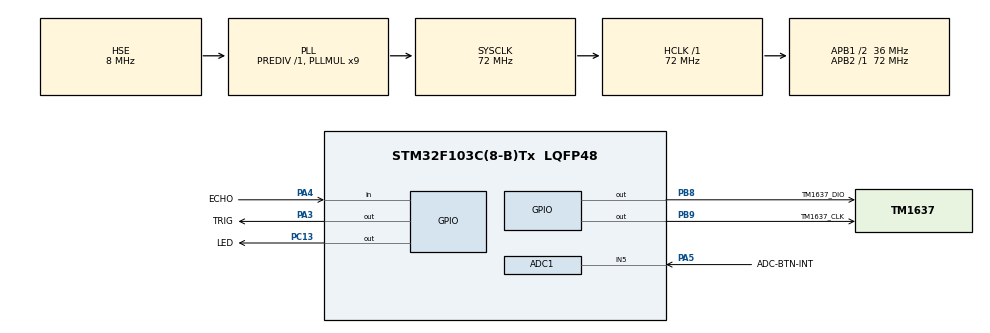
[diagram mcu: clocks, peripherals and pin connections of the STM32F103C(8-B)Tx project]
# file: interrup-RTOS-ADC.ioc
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Mcu.Family=STM32F1
RCC.PLLSourceVirtual=RCC_PLLSOURCE_HSE
NVIC.ADC1_2_IRQn=true\:5\:0\:true\:false\:true\:true\:true
ADC1.Rank-0\#ChannelRegularConversion=1
PD1-OSC_OUT.Mode=HSE-External-Oscillator
PB9.GPIO_Label=TM1637_CLK
PB9.GPIO_ModeDefaultOutputPP=GPIO_MODE_OUTPUT_OD
PC13-TAMPER-RTC.Signal=GPIO_Output
NVIC.TIM1_UP_IRQn=true\:0\:0\:false\:false\:true\:false\:true
PD0-OSC_IN.Signal=RCC_OSC_IN
RCC.APB1CLKDivider=RCC_HCLK_DIV2
RCC.SYSCLKSource=RCC_SYSCLKSOURCE_PLLCLK
ProjectManager.StackSize=0x400
PD1-OSC_OUT.Signal=RCC_OSC_OUT
RCC.ADCPresc=RCC_ADCPCLK2_DIV6
PA13.Signal=SYS_JTMS-SWDIO
PB8.GPIO_Label=TM1637_DIO
ProjectManager.TargetToolchain=STM32CubeIDE
RCC.HCLKFreq_Value=72000000
RCC.APB2TimFreq_Value=72000000
RCC.USBFreq_Value=72000000
RCC.AHBFreq_Value=72000000
PD0-OSC_IN.Mode=HSE-External-Oscillator
PA5.Signal=ADCx_IN5
ADC1.Channel-0\#ChannelRegularConversion=ADC_CHANNEL_5
board=custom
PC13-TAMPER-RTC.GPIO_Label=LED
RCC.PLLMUL=RCC_PLL_MUL9
RCC.APB2Freq_Value=72000000
VP_TIM2_VS_ClockSourceINT.Mode=Internal
PA14.Mode=Serial_Wire
VP_SYS_VS_tim1.Mode=TIM1
PB8.PinState=GPIO_PIN_SET
PA13.Mode=Serial_Wire
Mcu.Name=STM32F103C(8-B)Tx
ADC1.SamplingTime-0\#ChannelRegularConversion=ADC_SAMPLETIME_1CYCLE_5
PA4.Signal=GPIO_Input
RCC.SYSCLKFreq_VALUE=72000000
Mcu.Package=LQFP48
PB9.Signal=GPIO_Output
TIM2.Prescaler=71
ADC1.master=1
NVIC.TimeBase=TIM1_UP_IRQn
PA5.GPIO_Label=ADC-BTN-INT
PB9.PinState=GPIO_PIN_SET
NVIC.TimeBaseIP=TIM1
PA14.Signal=SYS_JTCK-SWCLK
ProjectManager.HeapSize=0x200
SH.ADCx_IN5.0=ADC1_IN5,IN5
NVIC.PriorityGroup=NVIC_PRIORITYGROUP_4
ADC1.NbrOfConversionFlag=1
PB9.GPIO_Speed=GPIO_SPEED_FREQ_MEDIUM
RCC.APB1TimFreq_Value=72000000
PB8.Signal=GPIO_Output
RCC.APB1Freq_Value=36000000
PB8.GPIO_Speed=GPIO_SPEED_FREQ_MEDIUM
PA4.GPIO_Label=ECHO
PA3.GPIO_Label=TRIG
PA3.Signal=GPIO_Output

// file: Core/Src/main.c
/* USER CODE BEGIN Header */
/**
  ******************************************************************************
  * @file           : main.c
  * @brief          : Main program body
  * Ref 1: https://microcontrollerslab.com/stm32-blue-pill-adc-polling-interrupt-dma/
  * Ref 2: https://github.com/fabimass/stm32f103-freertos/tree/main/adc/adc_isr
  ******************************************************************************
  * @attention
  *
  * <h2><center>&copy; Copyright (c) 2024 STMicroelectronics.
  * All rights reserved.</center></h2>
  *
  * This software component is licensed by ST under BSD 3-Clause license,
  * the "License"; You may not use this file except in compliance with the
  * License. You may obtain a copy of the License at:
  *                        opensource.org/licenses/BSD-3-Clause
  *
  ******************************************************************************
  */
/* USER CODE END Header */
#include "main.h"

/* USER CODE BEGIN Includes */
#include "FreeRTOS.h"
#include "task.h"
#include "queue.h"
#include "semphr.h"
/* USER CODE END Includes */

ADC_HandleTypeDef hadc1;

TIM_HandleTypeDef htim2;

void SystemClock_Config(void);
static void MX_GPIO_Init(void);
static void MX_ADC1_Init(void);
static void MX_TIM2_Init(void);

/* USER CODE BEGIN 0 */
QueueHandle_t queue_ADC, queue_PA, queue_CP, queue_AM;
SemaphoreHandle_t ADC_semph;

//para cambio de prioridades:
TaskHandle_t xTarea_Config_Handle = NULL, xTarea_Pantalla_Handle=NULL, xTarea_Medir_Handle = NULL;

//var globales para usar live expretion//
int add_tiempo = 0;
int tarea = 0;
int cola_max = 10;
int cola_min = 0;
uint16_t max = 70, min = 20; //xq pinto asi....
//var globales para usar live expretion//

#define THRESHOLD_VALUE 2048

#define BTN_USER_UP 2750	  //presiono boton UP valor ADC aprox: 2750.
#define BTN_USER_DOWN 2570    //presiono boton DOWN valor ADC aprox: 2574.
//	BTN_USER_UP - BTN_USER_DOWN = DIDERENCIA(180). Es la diferencia entre ellos.
//  Damos margen de 60 y queda: DIDERENCIA(180) -60 --> 120.. dividido 2 --> 60... asi que.
//  BTN_USER_UP - 60   = 2690     y   BTN_USER_UP + 60   = 2810
//  BTN_USER_DOWN + 60 = 2630     y   BTN_USER_DOWN - 60 = 2510
#define BTN_USER_UP_INF  BTN_USER_UP - 60
#define BTN_USER_UP_SUP  BTN_USER_UP + 60
#define BTN_USER_DOWN_INF  BTN_USER_DOWN - 60
#define BTN_USER_DOWN_SUP  BTN_USER_DOWN + 60
#define BTN_USER_OK 2100      //presiono dos botones valor ADC aprox: 1981.

static void Pantalla(void *pvParameters){
	uint16_t display_value;
	unsigned portBASE_TYPE uxPriority;
	uxPriority = NULL;
	while (1){
		//Consulta la prioridad a la que esta tarea está en ejecución.
		uxPriority = uxTaskPriorityGet( NULL );
		if(uxPriority==3)
		xQueuePeek(queue_CP,&display_value,portMAX_DELAY);//recibe valor que esta configurando tarea Config. Usa Peek para no eliminar y terminar en bloqueo.
		else if(uxPriority==2){
		xQueueReceive(queue_PA,&display_value,portMAX_DELAY);//recibe valor medido por sensor.
		}
		tm1637_ShowNumber(display_value);
		/*
		 * La función HAL-ADC-Start-IT() es responsable de permitir la interrupción y inicio de la conversión de ADC de los canales regulares.
		 * Toma en un solo parámetro que es el puntero de la estructura ADC-HandleTypeDef que contiene los parámetros de configuración para el
		 * ADC especificado. En nuestro caso es "&hadc1.
		 */
		HAL_ADC_Start_IT(&hadc1);
	}
}

static void Medir(void *pvParameters){
	uint32_t distancia = 0, pMillis, val1 = 0, val2 = 0;
	while(1){
		HAL_GPIO_WritePin(TRIG_GPIO_Port, TRIG_Pin, GPIO_PIN_SET);
		__HAL_TIM_SET_COUNTER(&htim2, 0);
		while (__HAL_TIM_GET_COUNTER (&htim2) < 10);  // wait for 10 us
		HAL_GPIO_WritePin(TRIG_GPIO_Port, TRIG_Pin, GPIO_PIN_RESET);

		pMillis = HAL_GetTick();
		while (!(HAL_GPIO_ReadPin (ECHO_GPIO_Port, ECHO_Pin)) && pMillis + 10 >  HAL_GetTick());
		val1 = __HAL_TIM_GET_COUNTER (&htim2);

		pMillis = HAL_GetTick();
		while ((HAL_GPIO_ReadPin (ECHO_GPIO_Port, ECHO_Pin)) && pMillis + 50 > HAL_GetTick());
		val2 = __HAL_TIM_GET_COUNTER (&htim2);
		distancia = (val2-val1)* 0.036/2;
		//xQueueSend(queue_AM, &distancia, portMAX_DELAY);
		xQueueSend(queue_PA, &distancia, portMAX_DELAY);
		vTaskDelay(60/portTICK_PERIOD_MS);
	}
}

static void Config(void *pvParameters){
	//unsigned portBASE_TYPE uxPriority;
	//uxPriority = uxTaskPriorityGet( NULL );
	uint16_t ADC_value, display_value=0;
	char init_estate = 1;
	char Param_Config = 2;
	char E_Confir = 0;
	//char max = 70, min = 20; //xq pinto asi.... Las puse globales solo para verlas... van locales.
	while (1){

		xSemaphoreTake(ADC_semph, portMAX_DELAY);
		if (init_estate){                 //si init_estate es 1, significa que esta iniciando el sistema y debe verificar la cola.
			//aca deberia ir una funcion que verifique mejor los valores.
			if(!cola_max && !cola_max){   //solo si lee la cola y los valores son correctos
				init_estate = 0;          //si hay valores correctos ya no es necesaio verificar cola.
				//sube valores a cola CM. Es una especie de confirmacion de que estan bien.
				//sube prioridad de memoria.
				//vuelve a tomar el semaforo y asi se bloquea. CREO....
				xSemaphoreTake(ADC_semph, portMAX_DELAY);
			}
		}
		//Si llego a esta etapa significa que debe configurar valores, para eso fuerza interrupcion ADC para actualizar cola.
		HAL_ADC_Start_IT(&hadc1);
		xQueueReceive(queue_ADC,&ADC_value,portMAX_DELAY);

		//la tarea pantalla debe poder leer su propia prioridad para saber si lee la cola CP(config-pantalla) o cola PA(Pantalla-Alarma)
		vTaskPrioritySet( xTarea_Pantalla_Handle, 3); //si aun no hay datos en la cola CP pantalla si bloquea hasat que primero aparezca valor de max. CREO.

		//es muy probable que los if que tienen en su condicion un Param_Config se reemplacen por Switch CASE.
		if(Param_Config == 2){
			if ((ADC_value > BTN_USER_UP_INF) && (ADC_value < BTN_USER_UP_SUP)){  //condicion que responde a boton UP.
				max++;
				E_Confir = 1;
			}
			else if ((ADC_value > BTN_USER_DOWN_INF) && (ADC_value < BTN_USER_DOWN_SUP)){  //condicion que responde a boton DOWN.
				max--;
				E_Confir = 1;
			}
			//aca se manda el valor de max a la cola CP para verlo en el display.
			xQueueReceive(queue_CP,&display_value,portMAX_DELAY);  //lo usa para eliminar el dato.
			xQueueSend(queue_CP,&max,portMAX_DELAY); //CP              //escribe el nuevo dato.
			vTaskDelay(50/portTICK_PERIOD_MS); //demora para que no incremente tan rapido, sale de la tarea y retora.
		}

		else if(Param_Config == 1){
			if ((ADC_value > BTN_USER_UP_INF) && (ADC_value < BTN_USER_UP_SUP)){  //condicion que responde a boton UP.
				min++;
				E_Confir = 1;
			}
			else if ((ADC_value > BTN_USER_DOWN_INF) && (ADC_value < BTN_USER_DOWN_SUP)){  //condicion que responde a boton DOWN.
				min--;
				E_Confir = 1;
			}
			//aca se manda el valor de max a la cola CP para verlo en el display.
			xQueueReceive(queue_CP,&display_value,portMAX_DELAY);
			xQueueSend(queue_CP,&min,portMAX_DELAY);
			vTaskDelay(50/portTICK_PERIOD_MS); //demora para que no incremente tan rapido, sale de la tarea y retora.
		}

		//este es el if de confirmacion de parametro:
		if((BTN_USER_OK > ADC_value)&&(E_Confir)){ //esto significa que se presionaron los dos botones y que prebiamente se configiro un parametro.
			Param_Config--;
			E_Confir=0;
			vTaskDelay(250/portTICK_PERIOD_MS); //demora para que no incremente tan rapido.
		}

		if(Param_Config>0) xSemaphoreGive(ADC_semph);  //mientras no se hayan configurado maximo y minimo sigue dando semaforo.
		else{											//si ya configuro ambos parametros debe finalizar.
			Param_Config = 2;
			vTaskPrioritySet( xTarea_Medir_Handle, 2); //si aun no hay datos en la cola CP pantalla si bloquea hasat que primero aparezca valor de max
			vTaskPrioritySet( xTarea_Pantalla_Handle, 2);
			xSemaphoreTake(ADC_semph, portMAX_DELAY);
			//va a una funcion de finalizacion que:
			/*
		    -copia valores a CM.
			-sube prioridad a memoria.
			-analizar si es mejor la toma del semaforo aca.
			 */
		}

	}
}

void HAL_ADC_ConvCpltCallback(ADC_HandleTypeDef* hadc)
{
	static portBASE_TYPE xHigherPriorityTaskWoken = pdFALSE;
	static uint16_t adc_value = 0;

	// Obtains the conversion result
	adc_value = HAL_ADC_GetValue(hadc);

	// Sends the value to the queue
	xQueueOverwriteFromISR(queue_ADC, &adc_value, &xHigherPriorityTaskWoken); //en la cinfig de interrup: ADC1 y ADC2 global poner una prioridad de 5, sino queda trabado ahí.

	//En caso de que se presionen dos botones debe entregar semaforo para config.
	if(adc_value<BTN_USER_OK)
		xSemaphoreGiveFromISR(ADC_semph, &xHigherPriorityTaskWoken);
	portEND_SWITCHING_ISR(xHigherPriorityTaskWoken);

	//dos botones: max: 1981
	//boton up: 2750
	//boton min: 2574
}

/* USER CODE END 0 */

int main(void)
{

  /* MCU Configuration--------------------------------------------------------*/

  /* Reset of all peripherals, Initializes the Flash interface and the Systick. */
  HAL_Init();

  /* Configure the system clock */
  SystemClock_Config();

  /* Initialize all configured peripherals */
  MX_GPIO_Init();
  MX_ADC1_Init();
  MX_TIM2_Init();
  /* USER CODE BEGIN 2 */
  HAL_GPIO_WritePin(LED_GPIO_Port, LED_Pin, GPIO_PIN_SET);
  HAL_TIM_Base_Start(&htim2);

  //Creacion de Colas:
  queue_ADC = xQueueCreate(1,sizeof(uint16_t));
  queue_PA = xQueueCreate(1,sizeof(uint16_t));
  queue_CP = xQueueCreate(1,sizeof(uint16_t));
  queue_AM = xQueueCreate(1,sizeof(uint32_t));
  int display_value = 0;
  xQueueSend(queue_CP,&display_value,portMAX_DELAY);

  //Creacion de semaforos:
  vSemaphoreCreateBinary(ADC_semph);
  xSemaphoreTake(ADC_semph, portMAX_DELAY);

  //Creacion de tareas:
  xTaskCreate(Pantalla, "Pantalla task", configMINIMAL_STACK_SIZE, NULL, 2, &xTarea_Pantalla_Handle);
  xTaskCreate(Config, "Config task", 200, NULL, 3, &xTarea_Config_Handle);
  xTaskCreate(Medir, "Medir task", 100, NULL, 2, &xTarea_Medir_Handle);

  //inicializa display:
  tm1637_SetBrightness(3);//Set max brightness
  tm1637_DisplayUpdate(0,0,0,0);//Clear display (all segments off)
  tm1637_ShowNumber(122);
  vTaskStartScheduler();

  /* USER CODE END 2 */

  /* Infinite loop */
  while (1)
  {

  }
}

void SystemClock_Config(void)
{
  RCC_OscInitTypeDef RCC_OscInitStruct = {0};
  RCC_ClkInitTypeDef RCC_ClkInitStruct = {0};
  RCC_PeriphCLKInitTypeDef PeriphClkInit = {0};

  /** Initializes the RCC Oscillators according to the specified parameters
  * in the RCC_OscInitTypeDef structure.
  */
  RCC_OscInitStruct.OscillatorType = RCC_OSCILLATORTYPE_HSE;
  RCC_OscInitStruct.HSEState = RCC_HSE_ON;
  RCC_OscInitStruct.HSEPredivValue = RCC_HSE_PREDIV_DIV1;
  RCC_OscInitStruct.HSIState = RCC_HSI_ON;
  RCC_OscInitStruct.PLL.PLLState = RCC_PLL_ON;
  RCC_OscInitStruct.PLL.PLLSource = RCC_PLLSOURCE_HSE;
  RCC_OscInitStruct.PLL.PLLMUL = RCC_PLL_MUL9;
  if (HAL_RCC_OscConfig(&RCC_OscInitStruct) != HAL_OK)
  {
    Error_Handler();
  }
  /** Initializes the CPU, AHB and APB buses clocks
  */
  RCC_ClkInitStruct.ClockType = RCC_CLOCKTYPE_HCLK|RCC_CLOCKTYPE_SYSCLK
                              |RCC_CLOCKTYPE_PCLK1|RCC_CLOCKTYPE_PCLK2;
  RCC_ClkInitStruct.SYSCLKSource = RCC_SYSCLKSOURCE_PLLCLK;
  RCC_ClkInitStruct.AHBCLKDivider = RCC_SYSCLK_DIV1;
  RCC_ClkInitStruct.APB1CLKDivider = RCC_HCLK_DIV2;
  RCC_ClkInitStruct.APB2CLKDivider = RCC_HCLK_DIV1;

  if (HAL_RCC_ClockConfig(&RCC_ClkInitStruct, FLASH_LATENCY_2) != HAL_OK)
  {
    Error_Handler();
  }
  PeriphClkInit.PeriphClockSelection = RCC_PERIPHCLK_ADC;
  PeriphClkInit.AdcClockSelection = RCC_ADCPCLK2_DIV6;
  if (HAL_RCCEx_PeriphCLKConfig(&PeriphClkInit) != HAL_OK)
  {
    Error_Handler();
  }
}

static void MX_ADC1_Init(void)
{

  ADC_ChannelConfTypeDef sConfig = {0};

  /** Common config
  */
  hadc1.Instance = ADC1;
  hadc1.Init.ScanConvMode = ADC_SCAN_DISABLE;
  hadc1.Init.ContinuousConvMode = DISABLE;
  hadc1.Init.DiscontinuousConvMode = DISABLE;
  hadc1.Init.ExternalTrigConv = ADC_SOFTWARE_START;
  hadc1.Init.DataAlign = ADC_DATAALIGN_RIGHT;
  hadc1.Init.NbrOfConversion = 1;
  if (HAL_ADC_Init(&hadc1) != HAL_OK)
  {
    Error_Handler();
  }
  /** Configure Regular Channel
  */
  sConfig.Channel = ADC_CHANNEL_5;
  sConfig.Rank = ADC_REGULAR_RANK_1;
  sConfig.SamplingTime = ADC_SAMPLETIME_1CYCLE_5;
  if (HAL_ADC_ConfigChannel(&hadc1, &sConfig) != HAL_OK)
  {
    Error_Handler();
  }

}

static void MX_TIM2_Init(void)
{

  TIM_ClockConfigTypeDef sClockSourceConfig = {0};
  TIM_MasterConfigTypeDef sMasterConfig = {0};

  htim2.Instance = TIM2;
  htim2.Init.Prescaler = 71;
  htim2.Init.CounterMode = TIM_COUNTERMODE_UP;
  htim2.Init.Period = 65535;
  htim2.Init.ClockDivision = TIM_CLOCKDIVISION_DIV1;
  htim2.Init.AutoReloadPreload = TIM_AUTORELOAD_PRELOAD_DISABLE;
  if (HAL_TIM_Base_Init(&htim2) != HAL_OK)
  {
    Error_Handler();
  }
  sClockSourceConfig.ClockSource = TIM_CLOCKSOURCE_INTERNAL;
  if (HAL_TIM_ConfigClockSource(&htim2, &sClockSourceConfig) != HAL_OK)
  {
    Error_Handler();
  }
  sMasterConfig.MasterOutputTrigger = TIM_TRGO_RESET;
  sMasterConfig.MasterSlaveMode = TIM_MASTERSLAVEMODE_DISABLE;
  if (HAL_TIMEx_MasterConfigSynchronization(&htim2, &sMasterConfig) != HAL_OK)
  {
    Error_Handler();
  }

}

static void MX_GPIO_Init(void)
{
  GPIO_InitTypeDef GPIO_InitStruct = {0};

  /* GPIO Ports Clock Enable */
  __HAL_RCC_GPIOC_CLK_ENABLE();
  __HAL_RCC_GPIOD_CLK_ENABLE();
  __HAL_RCC_GPIOA_CLK_ENABLE();
  __HAL_RCC_GPIOB_CLK_ENABLE();

  /*Configure GPIO pin Output Level */
  HAL_GPIO_WritePin(LED_GPIO_Port, LED_Pin, GPIO_PIN_RESET);

  /*Configure GPIO pin Output Level */
  HAL_GPIO_WritePin(TRIG_GPIO_Port, TRIG_Pin, GPIO_PIN_RESET);

  /*Configure GPIO pin Output Level */
  HAL_GPIO_WritePin(GPIOB, TM1637_DIO_Pin|TM1637_CLK_Pin, GPIO_PIN_SET);

  /*Configure GPIO pin : LED_Pin */
  GPIO_InitStruct.Pin = LED_Pin;
  GPIO_InitStruct.Mode = GPIO_MODE_OUTPUT_PP;
  GPIO_InitStruct.Pull = GPIO_NOPULL;
  GPIO_InitStruct.Speed = GPIO_SPEED_FREQ_LOW;
  HAL_GPIO_Init(LED_GPIO_Port, &GPIO_InitStruct);

  /*Configure GPIO pin : TRIG_Pin */
  GPIO_InitStruct.Pin = TRIG_Pin;
  GPIO_InitStruct.Mode = GPIO_MODE_OUTPUT_PP;
  GPIO_InitStruct.Pull = GPIO_NOPULL;
  GPIO_InitStruct.Speed = GPIO_SPEED_FREQ_LOW;
  HAL_GPIO_Init(TRIG_GPIO_Port, &GPIO_InitStruct);

  /*Configure GPIO pin : ECHO_Pin */
  GPIO_InitStruct.Pin = ECHO_Pin;
  GPIO_InitStruct.Mode = GPIO_MODE_INPUT;
  GPIO_InitStruct.Pull = GPIO_NOPULL;
  HAL_GPIO_Init(ECHO_GPIO_Port, &GPIO_InitStruct);

  /*Configure GPIO pin : TM1637_DIO_Pin */
  GPIO_InitStruct.Pin = TM1637_DIO_Pin;
  GPIO_InitStruct.Mode = GPIO_MODE_OUTPUT_PP;
  GPIO_InitStruct.Pull = GPIO_NOPULL;
  GPIO_InitStruct.Speed = GPIO_SPEED_FREQ_MEDIUM;
  HAL_GPIO_Init(TM1637_DIO_GPIO_Port, &GPIO_InitStruct);

  /*Configure GPIO pin : TM1637_CLK_Pin */
  GPIO_InitStruct.Pin = TM1637_CLK_Pin;
  GPIO_InitStruct.Mode = GPIO_MODE_OUTPUT_OD;
  GPIO_InitStruct.Pull = GPIO_NOPULL;
  GPIO_InitStruct.Speed = GPIO_SPEED_FREQ_MEDIUM;
  HAL_GPIO_Init(TM1637_CLK_GPIO_Port, &GPIO_InitStruct);

}

 /**
  * @brief  Period elapsed callback in non blocking mode
  * @note   This function is called  when TIM1 interrupt took place, inside
  * HAL_TIM_IRQHandler(). It makes a direct call to HAL_IncTick() to increment
  * a global variable "uwTick" used as application time base.
  * @param  htim : TIM handle
  * @retval None
  */
void HAL_TIM_PeriodElapsedCallback(TIM_HandleTypeDef *htim)
{
  if (htim->Instance == TIM1) {
    HAL_IncTick();
  }
}

void Error_Handler(void)
{
  __disable_irq();
  while (1)
  {
  }
}

/************************ (C) COPYRIGHT STMicroelectronics *****END OF FILE****/
